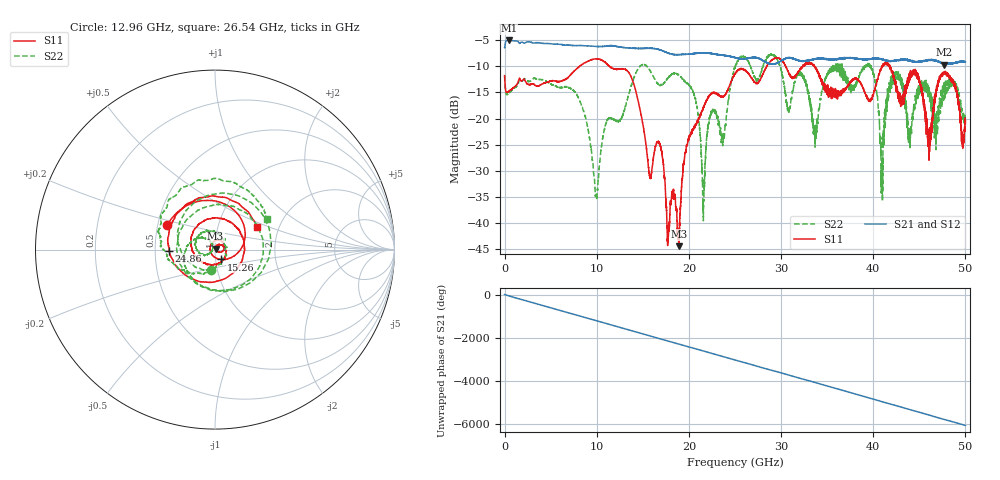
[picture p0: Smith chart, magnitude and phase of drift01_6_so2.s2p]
!Created with skrf (http://scikit-rf.org).
# Hz S RI R 50.0
!freq ReS11 ImS11 ReS21 ImS21 ReS12 ImS12 ReS22 ImS22
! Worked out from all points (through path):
!   10001 points, 300 kHz to 50 GHz, reference 50 ohm
!   highest |S21| = -5.05 dB at 480.3 MHz (marker M1); lowest = -9.7 dB at 47.67 GHz (marker M2)
!   group delay of S21, straight-line fit = 336 ps
!   lowest |S11| = -44.4 dB at 18.92 GHz (marker M3), VSWR 1.01, Z = 50.3 + j0.531 ohm
!   |S11| at or under -10 dB: start of sweep to 8.134 GHz; 11.39 GHz to 28.44 GHz (17.06 GHz wide, 85.6 % of centre); 41.8 GHz to end of sweep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
!   |S22| runs from -39.5 to -7.6 dB; largest |S21 - S12| = 0.013
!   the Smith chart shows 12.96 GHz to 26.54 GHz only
!   S11 on the Smith chart (normalised r, x): 12.96 GHz: 0.56, +0.17; 15.26 GHz: 1.06, -0.12; 24.86 GHz: 0.59, -0.01; 26.54 GHz: 1.53, +0.42
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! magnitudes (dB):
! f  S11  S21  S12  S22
! 300 kHz  -11.8  -6.4  -6.5  -11.7
! 480.3 MHz  -14.7  -5.1  -5.1  -15.1
! 8.335 GHz  -9.7  -6.0  -6.0  -17.5
! 9.935 GHz  -8.6  -6.2  -6.2  -34.5
! 12.96 GHz  -10.5  -6.4  -6.4  -18.7
! 15.26 GHz  -23.9  -6.6  -6.6  -9.8
! 16.67 GHz  -24.5  -6.8  -6.8  -13.4
! 17.71 GHz  -43.3  -7.4  -7.4  -12.3
! 18.92 GHz  -44.4  -7.7  -7.8  -11.7
! 20.7 GHz  -21.1  -7.5  -7.5  -16.1
! 21.58 GHz  -17.9  -7.4  -7.4  -36.8
! 24.86 GHz  -11.8  -8.3  -8.3  -11.1
! 25 GHz  -11.4  -8.3  -8.4  -10.3
! 26.54 GHz  -11.6  -8.4  -8.4  -9.4
! 33.34 GHz  -9.6  -8.7  -8.7  -19.6
! 39.49 GHz  -16.6  -8.7  -8.6  -9.9
! 40.94 GHz  -10.0  -8.6  -8.7  -30.9
! 41.67 GHz  -9.8  -8.9  -9.0  -15.1
! 44.71 GHz  -11.2  -9.2  -9.2  -15.2
! 46.06 GHz  -25.8  -8.7  -8.7  -14.7
! 47.67 GHz  -11.2  -9.7  -9.5  -14.1
! 50 GHz  -21.0  -9.2  -9.2  -20.2
